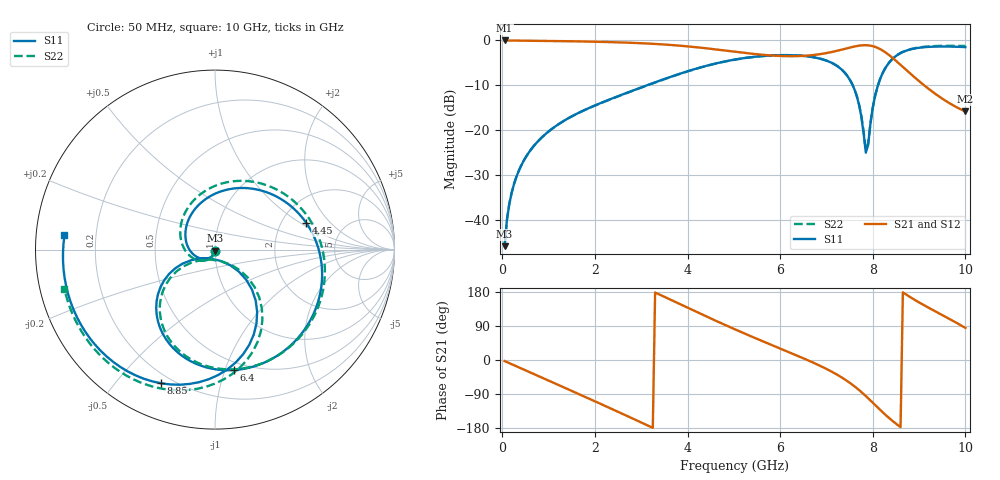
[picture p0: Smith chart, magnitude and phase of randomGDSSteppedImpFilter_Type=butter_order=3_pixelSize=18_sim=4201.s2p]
! freq	dB(S11)	phase(S11)	dB(S12)	phase(S12)
!  dB(S21)	phase(S21)	dB(S22)	phase(S22)
!S-par simulation data
#  GHz  S  DB  R 50
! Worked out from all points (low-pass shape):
!   200 points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, 50 MHz to 10 GHz, reference 50 ohm
!   highest |S21| = -0.01 dB at 50 MHz (marker M1); lowest = -15.8 dB at 10 GHz (marker M2)
!   |S21| within 3 dB of the highest: start of sweep to 5.437 GHz; 6.89 GHz to 8.32 GHz (1.43 GHz wide, 18.8 % of centre)
!   lowest |S11| = -45.7 dB at 50 MHz (marker M3), VSWR 1.01, Z = 50 - j0.516 ohm
!   |S11| at or under -10 dB: start of sweep to 3.117 GHz; 7.566 GHz to 8.112 GHz (545.2 MHz wide, 6.96 % of centre)
!   |S22| runs from -45.7 to -1.2 dB; largest |S21 - S12| = 0
!   S11 on the Smith chart (normalised r, x): 50 MHz: 1.00, -0.01; 4.45 GHz: 2.72, +1.13; 6.4 GHz: 0.43, -1.07; 8.85 GHz: 0.16, -0.66; 10 GHz: 0.09, +0.05
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0.05  -45.75 -90.8  -0.01 -2.8  -0.01 -2.8  -45.73 -90.0
0.1  -39.89 -94.4  -0.01 -5.5  -0.01 -5.5  -39.88 -93.3
0.2  -33.96 -101.4  -0.02 -10.9  -0.02 -10.9  -33.95 -99.2
0.5  -26.08 -120.5  -0.05 -27.2  -0.05 -27.2  -26.07 -115.1
1.15  -19.08 -159.5  -0.13 -62.5  -0.13 -62.5  -19.08 -147.6
1.75  -15.60 165.1  -0.23 -95.2  -0.23 -95.2  -15.62 -178.2
2.65  -11.80 113.8  -0.47 -145.1  -0.47 -145.1  -11.84 133.3
3.4  -8.94 72.6  -0.84 172.4  -0.84 172.4  -8.98 89.8
4.45  -5.53 16.4  -1.80 112.5  -1.80 112.5  -5.55 27.2
5.05  -4.20 -14.6  -2.55 79.5  -2.55 79.5  -4.22 -7.1
5.65  -3.44 -44.5  -3.22 48.1  -3.22 48.1  -3.46 -39.2
6.4  -3.36 -81.1  -3.48 9.9  -3.48 9.9  -3.36 -77.4
6.7  -3.71 -96.5  -3.26 -6.1  -3.26 -6.1  -3.70 -93.0
7.15  -5.18 -122.1  -2.49 -33.2  -2.49 -33.2  -5.16 -118.6
7.5  -8.67 -145.5  -1.60 -59.9  -1.60 -59.9  -8.62 -141.5
7.7  -14.15 -156.6  -1.17 -78.9  -1.17 -78.9  -14.02 -152.0
7.85  -24.95 -117.5  -1.06 -95.1  -1.06 -95.1  -24.30 -114.0
8.05  -12.33 -44.0  -1.43 -118.6  -1.43 -118.6  -12.34 -40.5
8.35  -4.97 -70.3  -3.23 -152.9  -3.23 -152.9  -4.95 -65.1
8.85  -1.91 -111.9  -7.73 162.7  -7.73 162.7  -1.84 -104.1
9.45  -1.35 -150.8  -12.59 121.9  -12.59 121.9  -1.21 -138.1
10  -1.49 174.6  -15.79 84.6  -15.79 84.6  -1.24 -165.3
